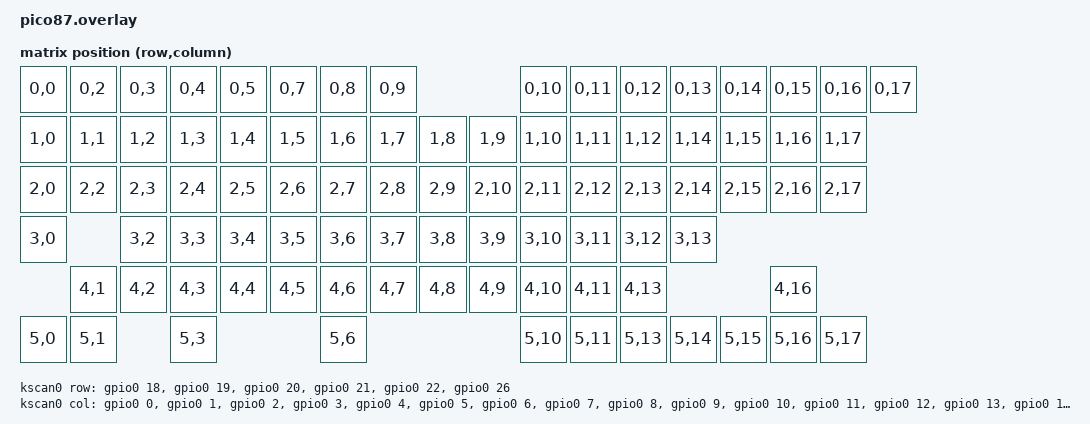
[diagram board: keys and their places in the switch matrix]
/*
 * Copyright (c) 2023 The ZMK Contributors
 *
 * SPDX-License-Identifier: MIT
 */

#include <dt-bindings/zmk/matrix_transform.h>

/ {
    chosen {
        zmk,kscan = &kscan0;
        zmk,matrix_transform = &default_transform;
    };

    kscan0: kscan {
        compatible = "zmk,kscan-gpio-matrix";
        label = "KSCAN";
        diode-direction = "col2row";
        col-gpios
            = <&gpio0 0 GPIO_ACTIVE_HIGH>
            , <&gpio0 1 GPIO_ACTIVE_HIGH>
            , <&gpio0 2 GPIO_ACTIVE_HIGH>
            , <&gpio0 3 GPIO_ACTIVE_HIGH>
            , <&gpio0 4 GPIO_ACTIVE_HIGH>
            , <&gpio0 5 GPIO_ACTIVE_HIGH>
            , <&gpio0 6 GPIO_ACTIVE_HIGH>
            , <&gpio0 7 GPIO_ACTIVE_HIGH>
            , <&gpio0 8 GPIO_ACTIVE_HIGH>
            , <&gpio0 9 GPIO_ACTIVE_HIGH>
            , <&gpio0 10 GPIO_ACTIVE_HIGH>
            , <&gpio0 11 GPIO_ACTIVE_HIGH>
            , <&gpio0 12 GPIO_ACTIVE_HIGH>
            , <&gpio0 13 GPIO_ACTIVE_HIGH>
            , <&gpio0 14 GPIO_ACTIVE_HIGH>
            , <&gpio0 15 GPIO_ACTIVE_HIGH>
            , <&gpio0 16 GPIO_ACTIVE_HIGH>
            , <&gpio0 17 GPIO_ACTIVE_HIGH>
            ;
        row-gpios
            = <&gpio0 18 (GPIO_ACTIVE_HIGH | GPIO_PULL_DOWN)>
            , <&gpio0 19 (GPIO_ACTIVE_HIGH | GPIO_PULL_DOWN)>
            , <&gpio0 20 (GPIO_ACTIVE_HIGH | GPIO_PULL_DOWN)>
            , <&gpio0 21 (GPIO_ACTIVE_HIGH | GPIO_PULL_DOWN)>
            , <&gpio0 22 (GPIO_ACTIVE_HIGH | GPIO_PULL_DOWN)>
            , <&gpio0 26 (GPIO_ACTIVE_HIGH | GPIO_PULL_DOWN)>
            ;
    };

    default_transform: keymap_transform_0 {
        compatible = "zmk,matrix-transform";
        columns = <18>;
        rows = <6>;
        map = <
RC(0,0)         RC(0,2) RC(0,3) RC(0,4) RC(0,5)         RC(0,7) RC(0,8) RC(0,9) RC(0,10) RC(0,11) RC(0,12) RC(0,13) RC(0,14) RC(0,15) RC(0,16) RC(0,17)
RC(1,0) RC(1,1) RC(1,2) RC(1,3) RC(1,4) RC(1,5) RC(1,6) RC(1,7) RC(1,8) RC(1,9) RC(1,10) RC(1,11) RC(1,12)          RC(1,14) RC(1,15) RC(1,16) RC(1,17)
RC(2,0)         RC(2,2) RC(2,3) RC(2,4) RC(2,5) RC(2,6) RC(2,7) RC(2,8) RC(2,9) RC(2,10) RC(2,11) RC(2,12) RC(2,13) RC(2,14) RC(2,15) RC(2,16) RC(2,17)
RC(3,0)         RC(3,2) RC(3,3) RC(3,4) RC(3,5) RC(3,6) RC(3,7) RC(3,8) RC(3,9) RC(3,10) RC(3,11) RC(3,12) RC(3,13)
        RC(4,1) RC(4,2) RC(4,3) RC(4,4) RC(4,5) RC(4,6) RC(4,7) RC(4,8) RC(4,9) RC(4,10) RC(4,11)          RC(4,13)                   RC(4,16)
RC(5,0) RC(5,1)         RC(5,3)                 RC(5,6)                         RC(5,10) RC(5,11)          RC(5,13) RC(5,14) RC(5,15) RC(5,16) RC(5,17)
        >;
    };
};
